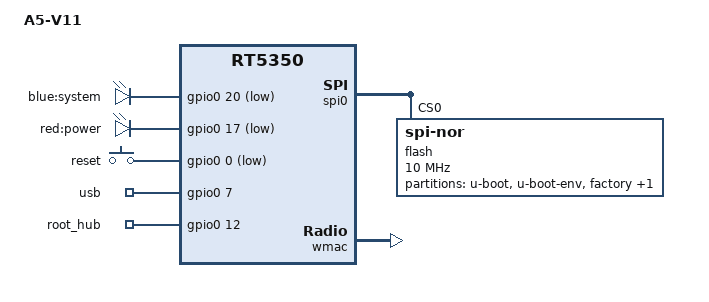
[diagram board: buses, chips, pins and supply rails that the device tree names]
#include "rt5350.dtsi"

#include <dt-bindings/gpio/gpio.h>
#include <dt-bindings/input/input.h>

/ {
	compatible = "unbranded,a5-v11", "ralink,rt5350-soc";
	model = "A5-V11";

	aliases {
		led-boot = &led_power;
		led-failsafe = &led_power;
		led-running = &led_power;
		led-upgrade = &led_power;
		label-mac-device = &ethernet;
	};

	leds {
		compatible = "gpio-leds";

		system {
			label = "blue:system";
			gpios = <&gpio0 20 GPIO_ACTIVE_LOW>;
		};

		led_power: power {
			label = "red:power";
			gpios = <&gpio0 17 GPIO_ACTIVE_LOW>;
		};
	};

	keys {
		compatible = "gpio-keys-polled";
		poll-interval = <20>;

		reset {
			label = "reset";
			gpios = <&gpio0 0 GPIO_ACTIVE_LOW>;
			linux,code = <KEY_RESTART>;
		};
	};

	gpio_export {
		compatible = "gpio-export";
		#size-cells = <0>;

		usb {
			gpio-export,name = "usb";
			gpio-export,output = <1>;
			gpios = <&gpio0 7 GPIO_ACTIVE_HIGH>;
		};

		root_hub {
			gpio-export,name = "root_hub";
			gpio-export,output = <1>;
			gpios = <&gpio0 12 GPIO_ACTIVE_HIGH>;
		};
	};
};

&spi0 {
	status = "okay";

	flash@0 {
		compatible = "jedec,spi-nor";
		reg = <0>;
		spi-max-frequency = <10000000>;

		partitions {
			compatible = "fixed-partitions";
			#address-cells = <1>;
			#size-cells = <1>;

			partition@0 {
				label = "u-boot";
				reg = <0x0 0x30000>;
				read-only;
			};

			partition@30000 {
				label = "u-boot-env";
				reg = <0x30000 0x10000>;
				read-only;
			};

			factory: partition@40000 {
				label = "factory";
				reg = <0x40000 0x10000>;
				read-only;
			};

			partition@50000 {
				compatible = "denx,uimage";
				label = "firmware";
				reg = <0x50000 0x3b0000>;
			};
		};
	};
};

&state_default {
	gpio {
		groups = "i2c", "jtag", "uartf", "led";
		function = "gpio";
	};
};

&ethernet {
	mtd-mac-address = <&factory 0x4>;
};

&esw {
	mediatek,portmap = <0x1>;
	mediatek,portdisable = <0x3e>;
};

&wmac {
	ralink,mtd-eeprom = <&factory 0x0>;
};
